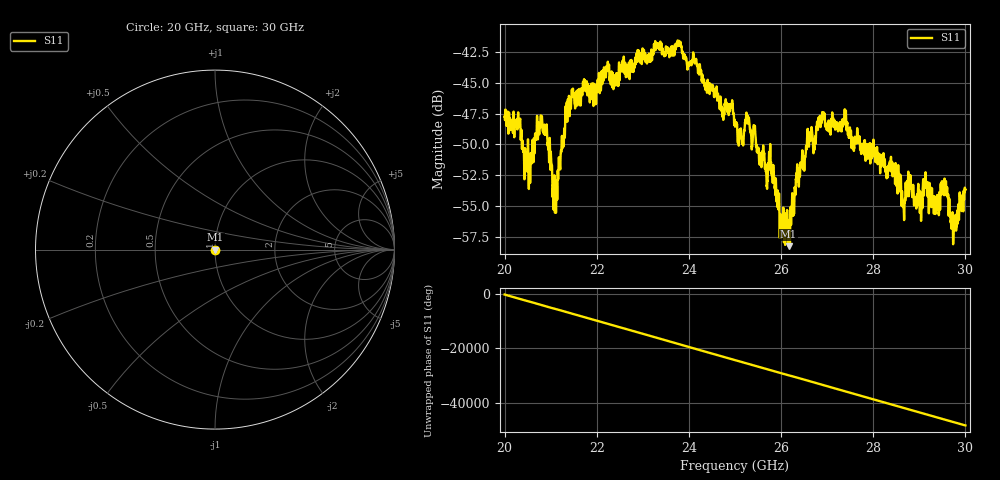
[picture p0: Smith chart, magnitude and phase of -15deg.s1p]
#  HZ  S  RI  R  50.00
! Rohde & Schwarz ZVA40 4Ports - Version 3.90 - 1145.1110k42 SN: 100403
! Date: 2023-10-03 11:28:58
! Measurement: S12
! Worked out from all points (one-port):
!   5001 points, 20 GHz to 30 GHz, reference 50 ohm
!   lowest |S11| = -58.3 dB at 26.16 GHz (marker M1), VSWR 1.00, Z = 50.1 - j0.0659 ohm
!   |S11| at or under -10 dB: start of sweep to end of sweep
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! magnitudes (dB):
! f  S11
! 20 GHz  -47.8
! 20.3 GHz  -47.6
! 20.52 GHz  -52.2
! 20.83 GHz  -49.0
! 20.94 GHz  -50.1
! 21.08 GHz  -53.1
! 21.25 GHz  -50.3
! 21.47 GHz  -45.9
! 22.5 GHz  -44.1
! 23.75 GHz  -41.8
! 25 GHz  -48.5
! 25.13 GHz  -49.1
! 25.27 GHz  -47.7
! 25.68 GHz  -52.6
! 25.78 GHz  -51.7
! 26.02 GHz  -57.2
! 26.16 GHz  -58.3
! 26.25 GHz  -55.2
! 26.59 GHz  -49.4
! 26.88 GHz  -48.2
! 27.5 GHz  -49.1
! 28.42 GHz  -52.6
! 28.65 GHz  -54.6
! 28.75 GHz  -53.6
! 29.38 GHz  -54.5
! 29.56 GHz  -53.9
! 29.77 GHz  -56.4
! 30 GHz  -53.7
